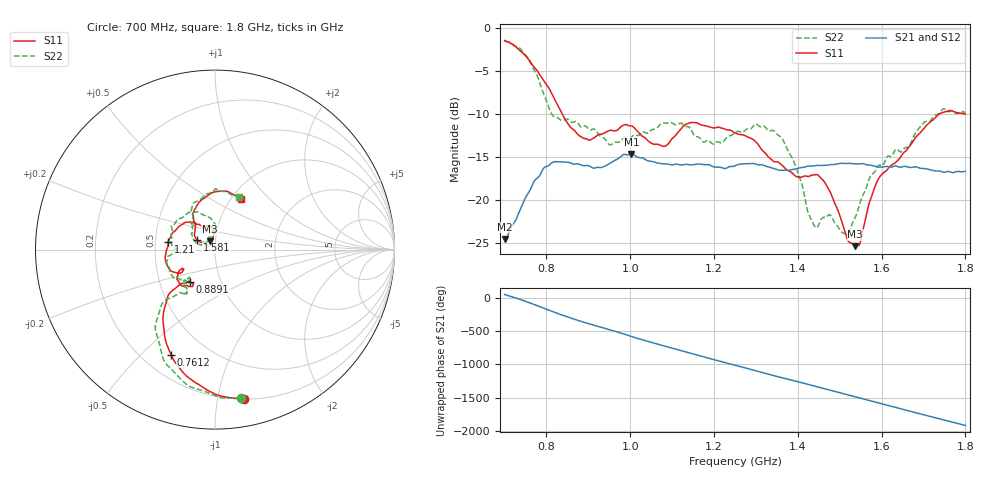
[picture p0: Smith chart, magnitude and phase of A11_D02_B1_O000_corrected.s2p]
! Created with skrf 1.9.0 (http://scikit-rf.org).
# Hz S RI R 50.0
!freq ReS11 ImS11 ReS21 ImS21 ReS12 ImS12 ReS22 ImS22
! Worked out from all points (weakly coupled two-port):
!   1601 points, 700 MHz to 1.8 GHz, reference 50 ohm
!   highest |S21| = -14.65 dB at 1.002 GHz (marker M1); lowest = -24.6 dB at 700.7 MHz (marker M2)
!   lowest |S11| = -25.4 dB at 1.537 GHz (marker M3), VSWR 1.11, Z = 47.1 + j4.33 ohm
!   |S11| at or under -10 dB: 837.7 MHz to 1.737 GHz (899.8 MHz wide, 69.9 % of centre); 1.799416 GHz to end of sweep
!   |S22| runs from -24.0 to -1.5 dB; largest |S21 - S12| = 0.0034
!   S11 on the Smith chart (normalised r, x): 700 MHz: 0.20, -1.19; 761.2 MHz: 0.32, -0.62; 889.1 MHz: 0.71, -0.27; 1.21 GHz: 0.58, +0.05; 1.581 GHz: 0.81, +0.09; 1.8 GHz: 1.12, +0.69
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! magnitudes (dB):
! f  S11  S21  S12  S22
! 700 MHz  -1.4  -24.5  -24.3  -1.5
! 700.7 MHz  -1.4  -24.6  -24.2  -1.5
! 761.2 MHz  -4.0  -18.8  -18.7  -3.9
! 814.8 MHz  -7.8  -15.6  -15.7  -10.2
! 883.6 MHz  -12.7  -15.9  -15.8  -11.5
! 889.1 MHz  -12.8  -16.0  -15.9  -11.4
! 951.6 MHz  -11.9  -15.7  -15.7  -13.6
! 1.002 GHz  -11.4  -14.7  -14.8  -12.7
! 1.067 GHz  -13.5  -15.7  -15.7  -11.4
! 1.141 GHz  -11.0  -15.9  -15.9  -11.6
! 1.21 GHz  -11.5  -16.2  -16.2  -13.2
! 1.25 GHz  -12.2  -16.0  -16.0  -12.2
! 1.36 GHz  -15.9  -16.6  -16.5  -12.7
! 1.434 GHz  -17.1  -16.1  -16.0  -22.5
! 1.471 GHz  -18.6  -16.0  -16.0  -21.8
! 1.515 GHz  -24.2  -15.8  -15.7  -24.0
! 1.537 GHz  -25.4  -15.8  -15.8  -22.0
! 1.549 GHz  -24.9  -15.8  -15.8  -20.3
! 1.581 GHz  -18.9  -16.1  -16.0  -16.9
! 1.617 GHz  -16.2  -16.1  -16.1  -14.9
! 1.737 GHz  -10.0  -16.6  -16.7  -10.0
! 1.8 GHz  -10.0  -16.7  -16.7  -9.8
